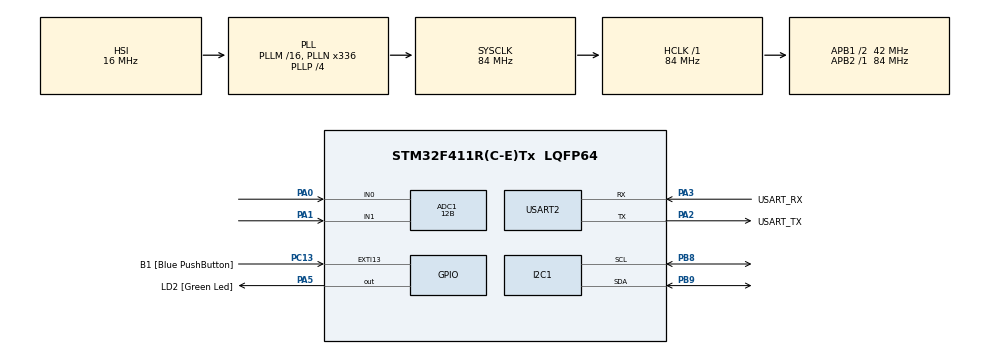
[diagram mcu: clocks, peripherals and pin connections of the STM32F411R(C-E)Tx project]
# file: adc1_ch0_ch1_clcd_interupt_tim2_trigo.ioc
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ADC1.Channel-0\#ChannelRegularConversion=ADC_CHANNEL_0
ADC1.Channel-1\#ChannelRegularConversion=ADC_CHANNEL_1
ADC1.ClockPrescaler=ADC_CLOCK_SYNC_PCLK_DIV6
ADC1.ExternalTrigConv=ADC_EXTERNALTRIGCONV_T2_TRGO
ADC1.NbrOfConversion=2
ADC1.NbrOfConversionFlag=1
ADC1.Rank-0\#ChannelRegularConversion=1
ADC1.Rank-1\#ChannelRegularConversion=2
ADC1.Resolution=ADC_RESOLUTION_12B
ADC1.SamplingTime-0\#ChannelRegularConversion=ADC_SAMPLETIME_28CYCLES
ADC1.SamplingTime-1\#ChannelRegularConversion=ADC_SAMPLETIME_28CYCLES
ADC1.ScanConvMode=ENABLE
ADC1.master=1
Mcu.Family=STM32F4
Mcu.Name=STM32F411R(C-E)Tx
Mcu.Package=LQFP64
NVIC.ADC_IRQn=true\:0\:0\:false\:false\:true\:true\:true\:true
NVIC.PriorityGroup=NVIC_PRIORITYGROUP_0
PA0-WKUP.Signal=ADCx_IN0
PA1.Signal=ADCx_IN1
PA13.GPIO_Label=TMS
PA13.Mode=Serial_Wire
PA13.Signal=SYS_JTMS-SWDIO
PA14.GPIO_Label=TCK
PA14.Mode=Serial_Wire
PA14.Signal=SYS_JTCK-SWCLK
PA2.GPIO_Label=USART_TX
PA2.Mode=Asynchronous
PA2.Signal=USART2_TX
PA3.GPIO_Label=USART_RX
PA3.Mode=Asynchronous
PA3.Signal=USART2_RX
PA5.GPIO_Label=LD2 [Green Led]
PA5.Signal=GPIO_Output
PB3.GPIO_Label=SWO
PB3.Signal=SYS_JTDO-SWO
PB8.Mode=I2C
PB8.Signal=I2C1_SCL
PB9.Mode=I2C
PB9.Signal=I2C1_SDA
PC13-ANTI_TAMP.GPIO_Label=B1 [Blue PushButton]
PC13-ANTI_TAMP.GPIO_ModeDefaultEXTI=GPIO_MODE_IT_FALLING
PC13-ANTI_TAMP.Signal=GPXTI13
PC14-OSC32_IN.Signal=RCC_OSC32_IN
PC15-OSC32_OUT.Signal=RCC_OSC32_OUT
PH0\ -\ OSC_IN.Signal=RCC_OSC_IN
PH1\ -\ OSC_OUT.Signal=RCC_OSC_OUT
ProjectManager.HeapSize=0x200
ProjectManager.StackSize=0x400
ProjectManager.TargetToolchain=STM32CubeIDE
RCC.48MHZClocksFreq_Value=84000000
RCC.AHBFreq_Value=84000000
RCC.APB1CLKDivider=RCC_HCLK_DIV2
RCC.APB1Freq_Value=42000000
RCC.APB1TimFreq_Value=84000000
RCC.APB2Freq_Value=84000000
RCC.APB2TimFreq_Value=84000000
RCC.CortexFreq_Value=84000000
RCC.FLatency-AdvancedSettings=FLASH_LATENCY_2
RCC.HCLKFreq_Value=84000000
RCC.HSE_VALUE=8000000
RCC.HSI_VALUE=16000000
RCC.LSE_VALUE=32768
RCC.PLLN=336
RCC.PLLP=RCC_PLLP_DIV4
RCC.SYSCLKFreq_VALUE=84000000
RCC.SYSCLKSource=RCC_SYSCLKSOURCE_PLLCLK
RCC.VCOOutputFreq_Value=336000000
SH.ADCx_IN0.0=ADC1_IN0,IN0
SH.ADCx_IN1.0=ADC1_IN1,IN1
TIM2.Channel-Output\ Compare2\ No\ Output=TIM_CHANNEL_2
TIM2.Period=5000000
TIM2.Prescaler=84-1
TIM2.TIM_MasterOutputTrigger=TIM_TRGO_UPDATE
USART2.VirtualMode=VM_ASYNC
VP_TIM2_VS_ClockSourceINT.Mode=Internal
VP_TIM2_VS_no_output2.Mode=Output Compare2 No Output
board=NUCLEO-F411RE

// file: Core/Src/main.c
/* USER CODE BEGIN Header */
/**
  ******************************************************************************
  * @file           : main.c
  * @brief          : Main program body
  ******************************************************************************
  * @attention
  *
  * Copyright (c) 2025 STMicroelectronics.
  * All rights reserved.
  *
  * This software is licensed under terms that can be found in the LICENSE file
  * in the root directory of this software component.
  * If no LICENSE file comes with this software, it is provided AS-IS.
  *
  ******************************************************************************
  */
/* USER CODE END Header */
#include "main.h"

/* USER CODE BEGIN Includes */
#include "clcd.h"
#include <stdio.h>
/* USER CODE END Includes */

/* USER CODE BEGIN PD */
#ifdef __GNUC__
/* With GCC, small printf (option LD Linker->Libraries->Small printf
   set to 'Yes') calls __io_putchar() */
#define PUTCHAR_PROTOTYPE int __io_putchar(int ch)
#else
#define PUTCHAR_PROTOTYPE int fputc(int ch, FILE *f)
#endif /* __GNUC__ */
/* USER CODE END PD */

ADC_HandleTypeDef hadc1;

I2C_HandleTypeDef hi2c1;

TIM_HandleTypeDef htim2;

UART_HandleTypeDef huart2;

/* USER CODE BEGIN PV */
__IO uint16_t ADC1ConvertVaue[2] = {0, };
__IO int adcFlag = 0;
/* USER CODE END PV */

void SystemClock_Config(void);
static void MX_GPIO_Init(void);
static void MX_USART2_UART_Init(void);
static void MX_I2C1_Init(void);
static void MX_ADC1_Init(void);
static void MX_TIM2_Init(void);

int main(void)
{

  /* USER CODE BEGIN 1 */

	char lcd_buf1[17];
	char lcd_buf2[17];
  /* USER CODE END 1 */

  /* MCU Configuration--------------------------------------------------------*/

  /* Reset of all peripherals, Initializes the Flash interface and the Systick. */
  HAL_Init();

  /* Configure the system clock */
  SystemClock_Config();

  /* Initialize all configured peripherals */
  MX_GPIO_Init();
  MX_USART2_UART_Init();
  MX_I2C1_Init();
  MX_ADC1_Init();
  MX_TIM2_Init();
  /* USER CODE BEGIN 2 */
  LCD_init(&hi2c1);
  printf("start main() adc1_ch0_ch1_clcd_interupt_tim2_trigo\r\n");
  LCD_writeStringXY(0, 0, "start main()!");
  LCD_writeStringXY(1, 0, "adc1_ch0_ch1_clcd");

  if(HAL_ADC_Start_IT(&hadc1) != HAL_OK)
	  Error_Handler();
  if(HAL_TIM_Base_Start(&htim2) != HAL_OK)
	  Error_Handler();
  /* USER CODE END 2 */

  /* Infinite loop */
  /* USER CODE BEGIN WHILE */
  while (1)
  {
#if 0
	  if(HAL_ADC_Start(&hadc1) != HAL_OK)
		  Error_Handler();
	  for(int i = 0; i < 2; i++)
	  {
		HAL_ADC_PollForConversion(&hadc1, 100);
		if((HAL_ADC_GetState(&hadc1) & HAL_ADC_STATE_REG_EOC) == HAL_ADC_STATE_REG_EOC)
		{
//			printf("ADC ch%d = %lu\r\n", i, HAL_ADC_GetValue(&hadc1));
			ADC1ConvertVaue[i] = HAL_ADC_GetValue(&hadc1);
		}
	  }
	  HAL_ADC_Stop(&hadc1);
#endif
	  if(adcFlag)
	  {
		  sprintf(lcd_buf1, "VAR : %d        ", ADC1ConvertVaue[0]);
		  sprintf(lcd_buf2, "CDS : %d        ", ADC1ConvertVaue[1]);

		  LCD_writeStringXY(0, 0, lcd_buf1);
		  LCD_writeStringXY(1, 0, lcd_buf2);

		  printf("VAR = %d, VAR_V = %lf CDS = %d\r\n", ADC1ConvertVaue[0], ADC1ConvertVaue[0] * 3.3 / 4096, ADC1ConvertVaue[1]);
		  adcFlag = 0;
		  if(HAL_ADC_Start_IT(&hadc1) != HAL_OK)
			  Error_Handler();
		  //HAL_Delay(100);
	  }
    /* USER CODE END WHILE */

  }
}

void SystemClock_Config(void)
{
  RCC_OscInitTypeDef RCC_OscInitStruct = {0};
  RCC_ClkInitTypeDef RCC_ClkInitStruct = {0};

  /** Configure the main internal regulator output voltage
  */
  __HAL_RCC_PWR_CLK_ENABLE();
  __HAL_PWR_VOLTAGESCALING_CONFIG(PWR_REGULATOR_VOLTAGE_SCALE1);

  /** Initializes the RCC Oscillators according to the specified parameters
  * in the RCC_OscInitTypeDef structure.
  */
  RCC_OscInitStruct.OscillatorType = RCC_OSCILLATORTYPE_HSI;
  RCC_OscInitStruct.HSIState = RCC_HSI_ON;
  RCC_OscInitStruct.HSICalibrationValue = RCC_HSICALIBRATION_DEFAULT;
  RCC_OscInitStruct.PLL.PLLState = RCC_PLL_ON;
  RCC_OscInitStruct.PLL.PLLSource = RCC_PLLSOURCE_HSI;
  RCC_OscInitStruct.PLL.PLLM = 16;
  RCC_OscInitStruct.PLL.PLLN = 336;
  RCC_OscInitStruct.PLL.PLLP = RCC_PLLP_DIV4;
  RCC_OscInitStruct.PLL.PLLQ = 4;
  if (HAL_RCC_OscConfig(&RCC_OscInitStruct) != HAL_OK)
  {
    Error_Handler();
  }

  /** Initializes the CPU, AHB and APB buses clocks
  */
  RCC_ClkInitStruct.ClockType = RCC_CLOCKTYPE_HCLK|RCC_CLOCKTYPE_SYSCLK
                              |RCC_CLOCKTYPE_PCLK1|RCC_CLOCKTYPE_PCLK2;
  RCC_ClkInitStruct.SYSCLKSource = RCC_SYSCLKSOURCE_PLLCLK;
  RCC_ClkInitStruct.AHBCLKDivider = RCC_SYSCLK_DIV1;
  RCC_ClkInitStruct.APB1CLKDivider = RCC_HCLK_DIV2;
  RCC_ClkInitStruct.APB2CLKDivider = RCC_HCLK_DIV1;

  if (HAL_RCC_ClockConfig(&RCC_ClkInitStruct, FLASH_LATENCY_2) != HAL_OK)
  {
    Error_Handler();
  }
}

static void MX_ADC1_Init(void)
{

  ADC_ChannelConfTypeDef sConfig = {0};

  /** Configure the global features of the ADC (Clock, Resolution, Data Alignment and number of conversion)
  */
  hadc1.Instance = ADC1;
  hadc1.Init.ClockPrescaler = ADC_CLOCK_SYNC_PCLK_DIV6;
  hadc1.Init.Resolution = ADC_RESOLUTION_12B;
  hadc1.Init.ScanConvMode = ENABLE;
  hadc1.Init.ContinuousConvMode = DISABLE;
  hadc1.Init.DiscontinuousConvMode = DISABLE;
  hadc1.Init.ExternalTrigConvEdge = ADC_EXTERNALTRIGCONVEDGE_RISING;
  hadc1.Init.ExternalTrigConv = ADC_EXTERNALTRIGCONV_T2_TRGO;
  hadc1.Init.DataAlign = ADC_DATAALIGN_RIGHT;
  hadc1.Init.NbrOfConversion = 2;
  hadc1.Init.DMAContinuousRequests = DISABLE;
  hadc1.Init.EOCSelection = ADC_EOC_SINGLE_CONV;
  if (HAL_ADC_Init(&hadc1) != HAL_OK)
  {
    Error_Handler();
  }

  /** Configure for the selected ADC regular channel its corresponding rank in the sequencer and its sample time.
  */
  sConfig.Channel = ADC_CHANNEL_0;
  sConfig.Rank = 1;
  sConfig.SamplingTime = ADC_SAMPLETIME_28CYCLES;
  if (HAL_ADC_ConfigChannel(&hadc1, &sConfig) != HAL_OK)
  {
    Error_Handler();
  }

  /** Configure for the selected ADC regular channel its corresponding rank in the sequencer and its sample time.
  */
  sConfig.Channel = ADC_CHANNEL_1;
  sConfig.Rank = 2;
  if (HAL_ADC_ConfigChannel(&hadc1, &sConfig) != HAL_OK)
  {
    Error_Handler();
  }

}

static void MX_I2C1_Init(void)
{

  hi2c1.Instance = I2C1;
  hi2c1.Init.ClockSpeed = 100000;
  hi2c1.Init.DutyCycle = I2C_DUTYCYCLE_2;
  hi2c1.Init.OwnAddress1 = 0;
  hi2c1.Init.AddressingMode = I2C_ADDRESSINGMODE_7BIT;
  hi2c1.Init.DualAddressMode = I2C_DUALADDRESS_DISABLE;
  hi2c1.Init.OwnAddress2 = 0;
  hi2c1.Init.GeneralCallMode = I2C_GENERALCALL_DISABLE;
  hi2c1.Init.NoStretchMode = I2C_NOSTRETCH_DISABLE;
  if (HAL_I2C_Init(&hi2c1) != HAL_OK)
  {
    Error_Handler();
  }

}

static void MX_TIM2_Init(void)
{

  TIM_ClockConfigTypeDef sClockSourceConfig = {0};
  TIM_MasterConfigTypeDef sMasterConfig = {0};
  TIM_OC_InitTypeDef sConfigOC = {0};

  htim2.Instance = TIM2;
  htim2.Init.Prescaler = 84-1;
  htim2.Init.CounterMode = TIM_COUNTERMODE_UP;
  htim2.Init.Period = 5000000;
  htim2.Init.ClockDivision = TIM_CLOCKDIVISION_DIV1;
  htim2.Init.AutoReloadPreload = TIM_AUTORELOAD_PRELOAD_DISABLE;
  if (HAL_TIM_Base_Init(&htim2) != HAL_OK)
  {
    Error_Handler();
  }
  sClockSourceConfig.ClockSource = TIM_CLOCKSOURCE_INTERNAL;
  if (HAL_TIM_ConfigClockSource(&htim2, &sClockSourceConfig) != HAL_OK)
  {
    Error_Handler();
  }
  if (HAL_TIM_OC_Init(&htim2) != HAL_OK)
  {
    Error_Handler();
  }
  sMasterConfig.MasterOutputTrigger = TIM_TRGO_UPDATE;
  sMasterConfig.MasterSlaveMode = TIM_MASTERSLAVEMODE_DISABLE;
  if (HAL_TIMEx_MasterConfigSynchronization(&htim2, &sMasterConfig) != HAL_OK)
  {
    Error_Handler();
  }
  sConfigOC.OCMode = TIM_OCMODE_TIMING;
  sConfigOC.Pulse = 0;
  sConfigOC.OCPolarity = TIM_OCPOLARITY_HIGH;
  sConfigOC.OCFastMode = TIM_OCFAST_DISABLE;
  if (HAL_TIM_OC_ConfigChannel(&htim2, &sConfigOC, TIM_CHANNEL_2) != HAL_OK)
  {
    Error_Handler();
  }

}

static void MX_USART2_UART_Init(void)
{

  huart2.Instance = USART2;
  huart2.Init.BaudRate = 115200;
  huart2.Init.WordLength = UART_WORDLENGTH_8B;
  huart2.Init.StopBits = UART_STOPBITS_1;
  huart2.Init.Parity = UART_PARITY_NONE;
  huart2.Init.Mode = UART_MODE_TX_RX;
  huart2.Init.HwFlowCtl = UART_HWCONTROL_NONE;
  huart2.Init.OverSampling = UART_OVERSAMPLING_16;
  if (HAL_UART_Init(&huart2) != HAL_OK)
  {
    Error_Handler();
  }

}

static void MX_GPIO_Init(void)
{
  GPIO_InitTypeDef GPIO_InitStruct = {0};

  /* GPIO Ports Clock Enable */
  __HAL_RCC_GPIOC_CLK_ENABLE();
  __HAL_RCC_GPIOH_CLK_ENABLE();
  __HAL_RCC_GPIOA_CLK_ENABLE();
  __HAL_RCC_GPIOB_CLK_ENABLE();

  /*Configure GPIO pin Output Level */
  HAL_GPIO_WritePin(LD2_GPIO_Port, LD2_Pin, GPIO_PIN_RESET);

  /*Configure GPIO pin : B1_Pin */
  GPIO_InitStruct.Pin = B1_Pin;
  GPIO_InitStruct.Mode = GPIO_MODE_IT_FALLING;
  GPIO_InitStruct.Pull = GPIO_NOPULL;
  HAL_GPIO_Init(B1_GPIO_Port, &GPIO_InitStruct);

  /*Configure GPIO pin : LD2_Pin */
  GPIO_InitStruct.Pin = LD2_Pin;
  GPIO_InitStruct.Mode = GPIO_MODE_OUTPUT_PP;
  GPIO_InitStruct.Pull = GPIO_NOPULL;
  GPIO_InitStruct.Speed = GPIO_SPEED_FREQ_LOW;
  HAL_GPIO_Init(LD2_GPIO_Port, &GPIO_InitStruct);

}

/* USER CODE BEGIN 4 */

void HAL_ADC_ConvCpltCallback(ADC_HandleTypeDef *hadc)
{
	static int channel = 0;
	if(channel == 0)
	{

		ADC1ConvertVaue[channel] = HAL_ADC_GetValue(hadc);
		channel = 1;
	}
	else if(channel == 1)
	{
		ADC1ConvertVaue[channel] = HAL_ADC_GetValue(hadc);
		channel = 0;
		adcFlag = 1;
	}
}

PUTCHAR_PROTOTYPE
{
  /* Place your implementation of fputc here */
  /* e.g. write a character to the USART6 and Loop until the end of transmission */
  HAL_UART_Transmit(&huart2, (uint8_t *)&ch, 1, 0xFFFF);

  return ch;
}
/* USER CODE END 4 */

void Error_Handler(void)
{
  __disable_irq();
  while (1)
  {
  }
}
